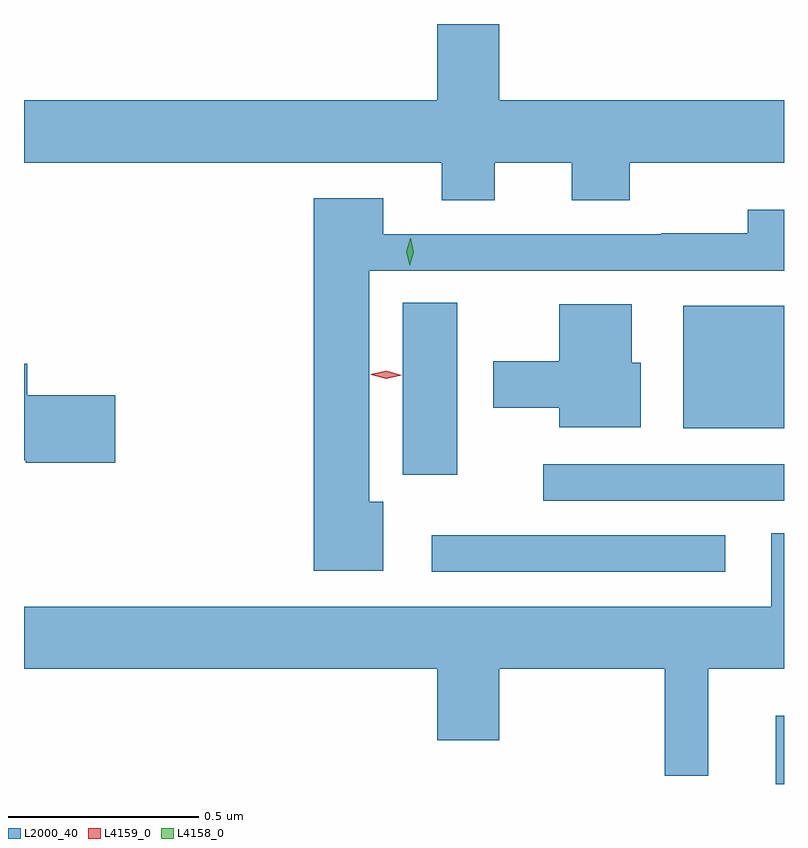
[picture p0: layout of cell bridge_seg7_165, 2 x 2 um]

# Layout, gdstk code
import gdstk
lib = gdstk.Library(unit=1e-6, precision=1e-09)
def R(c, l, rs):  # rectangles x0, y0, x1, y1
    for r in rs: c.add(gdstk.rectangle(r[:2], r[2:], *l))
def P(c, l, *ps):  # polygons
    for p in ps: c.add(gdstk.Polygon(p, *l))
L2000_40 = (2000, 40)
L4158_0 = (4158, 0)
L4159_0 = (4159, 0)

bridge_seg7_165 = lib.new_cell('bridge_seg7_165')
R(bridge_seg7_165, L2000_40, [(381.683,1042.937,381.705,1043.116), (380.778,1043.496,381.55,1043.592), (381.072,1043.682,381.705,1043.778), (380.702,1043.751,380.845,1044.203), (381.44,1043.873,381.705,1044.196)])
P(bridge_seg7_165, L2000_40, [(380.944,1044.572),(381.146,1044.572),(381.146,1044.473),(381.299,1044.473),(381.299,1044.572),(381.705,1044.572),(381.705,1044.736),(380.956,1044.736),(380.956,1044.937),(380.792,1044.937),(380.792,1044.736),(379.705,1044.736),(379.705,1044.572),(380.804,1044.572),(380.804,1044.473),(380.944,1044.473)],
  [(380.65,1043.68),(380.614,1043.68),(380.614,1044.288),(381.705,1044.288),(381.705,1044.448),(381.61,1044.448),(381.61,1044.386),(381.382,1044.386),(381.382,1044.384),(380.65,1044.384),(380.65,1044.478),(380.468,1044.478),(380.468,1043.498),(380.65,1043.498)],
  [(381.328,1044.045),(381.304,1044.045),(381.304,1044.199),(381.113,1044.199),(381.113,1044.049),(380.94,1044.049),(380.94,1043.927),(381.113,1043.927),(381.113,1043.876),(381.328,1043.876)],
  [(379.945,1043.96),(379.714,1043.96),(379.714,1044.043),(379.705,1044.043),(379.705,1043.789),(379.71,1043.789),(379.71,1043.782),(379.945,1043.782)],
  [(381.505,1043.24),(381.705,1043.24),(381.705,1043.597),(381.671,1043.597),(381.671,1043.404),(379.705,1043.404),(379.705,1043.24),(380.792,1043.24),(380.792,1043.052),(380.956,1043.052),(380.956,1043.24),(381.391,1043.24),(381.391,1042.959),(381.505,1042.959)])
P(bridge_seg7_165, L4158_0, [(380.72,1044.301),(380.72,1044.301),(380.711,1044.338),(380.722,1044.373),(380.722,1044.373),(380.723,1044.373),(380.731,1044.337),(380.72,1044.301)])
P(bridge_seg7_165, L4159_0, [(380.658,1044.004),(380.618,1044.014),(380.617,1044.015),(380.618,1044.015),(380.658,1044.024),(380.699,1044.013),(380.699,1044.013),(380.699,1044.013)])

lib.write_gds('bridge_seg7_165.gds')
